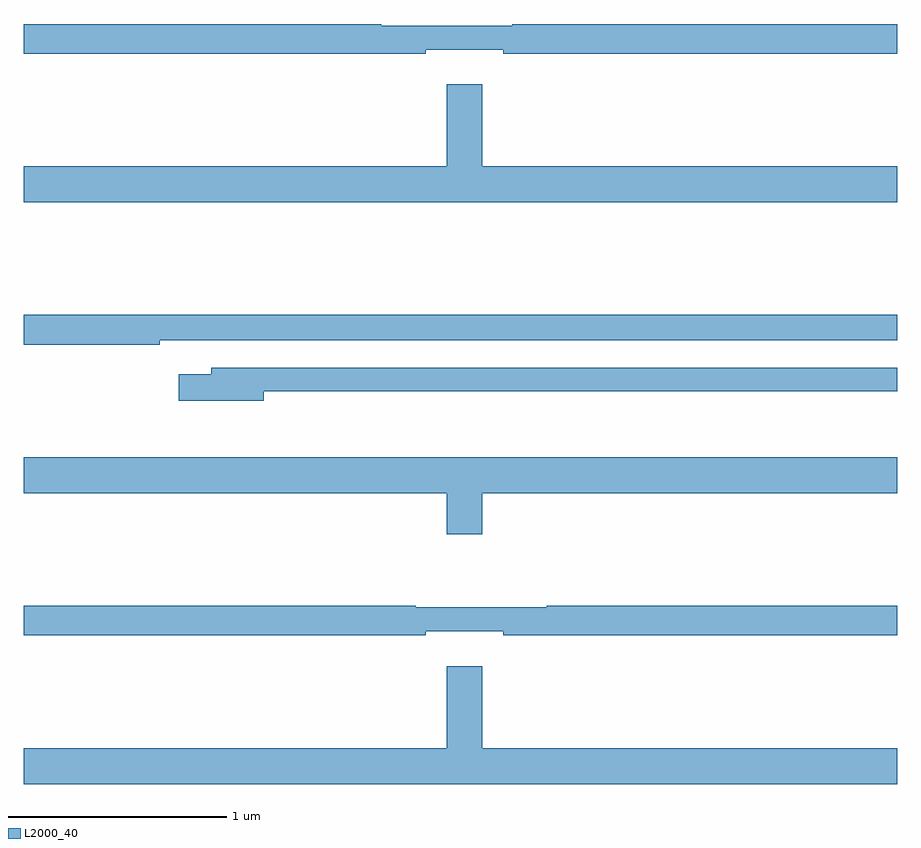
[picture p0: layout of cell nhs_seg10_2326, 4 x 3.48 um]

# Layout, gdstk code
import gdstk
lib = gdstk.Library(unit=1e-6, precision=1e-09)
def P(c, l, *ps):  # polygons
    for p in ps: c.add(gdstk.Polygon(p, *l))
L2000_40 = (2000, 40)

nhs_seg10_2326 = lib.new_cell('nhs_seg10_2326')
P(nhs_seg10_2326, L2000_40, [(236.84,1298.351),(237.196,1298.351),(237.196,1298.332),(239,1298.332),(239,1298.468),(237.238,1298.468),(237.238,1298.461),(236.638,1298.461),(236.638,1298.468),(235,1298.468),(235,1298.332),(236.84,1298.332)],
  [(239,1297.816),(237.1,1297.816),(237.1,1298.191),(236.936,1298.191),(236.936,1297.816),(235,1297.816),(235,1297.652),(239,1297.652)],
  [(235.622,1297.02),(239,1297.02),(239,1297.136),(235,1297.136),(235,1297),(235.622,1297)],
  [(236.098,1296.786),(239,1296.786),(239,1296.894),(235.859,1296.894),(235.859,1296.865),(235.71,1296.865),(235.71,1296.743),(236.098,1296.743)],
  [(237.1,1296.32),(239,1296.32),(239,1296.484),(235,1296.484),(235,1296.32),(236.936,1296.32),(236.936,1296.132),(237.1,1296.132)],
  [(236.84,1295.687),(237.196,1295.687),(237.196,1295.668),(239,1295.668),(239,1295.804),(237.394,1295.804),(237.394,1295.797),(236.794,1295.797),(236.794,1295.804),(235,1295.804),(235,1295.668),(236.84,1295.668)],
  [(239,1295.152),(237.1,1295.152),(237.1,1295.527),(236.936,1295.527),(236.936,1295.152),(235,1295.152),(235,1294.988),(239,1294.988)])

lib.write_gds('nhs_seg10_2326.gds')
